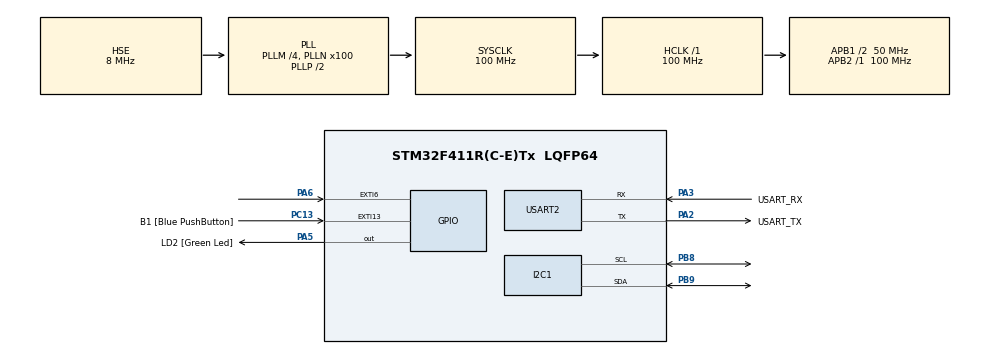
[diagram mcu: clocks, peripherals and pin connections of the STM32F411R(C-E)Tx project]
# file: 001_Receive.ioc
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Mcu.Family=STM32F4
Mcu.Name=STM32F411R(C-E)Tx
Mcu.Package=LQFP64
NVIC.PriorityGroup=NVIC_PRIORITYGROUP_0
PA13.GPIO_Label=TMS
PA13.Signal=SYS_JTMS-SWDIO
PA14.GPIO_Label=TCK
PA14.Signal=SYS_JTCK-SWCLK
PA2.GPIO_Label=USART_TX
PA2.Mode=Asynchronous
PA2.Signal=USART2_TX
PA3.GPIO_Label=USART_RX
PA3.Mode=Asynchronous
PA3.Signal=USART2_RX
PA5.GPIO_Label=LD2 [Green Led]
PA5.Signal=GPIO_Output
PA6.Signal=GPXTI6
PB3.GPIO_Label=SWO
PB3.Signal=SYS_JTDO-SWO
PB8.Mode=I2C
PB8.Signal=I2C1_SCL
PB9.Mode=I2C
PB9.Signal=I2C1_SDA
PC13-ANTI_TAMP.GPIO_Label=B1 [Blue PushButton]
PC13-ANTI_TAMP.GPIO_ModeDefaultEXTI=GPIO_MODE_IT_FALLING
PC13-ANTI_TAMP.Signal=GPXTI13
PC14-OSC32_IN.Mode=LSE-External-Oscillator
PC14-OSC32_IN.Signal=RCC_OSC32_IN
PC15-OSC32_OUT.Mode=LSE-External-Oscillator
PC15-OSC32_OUT.Signal=RCC_OSC32_OUT
PH0\ -\ OSC_IN.Mode=HSE-External-Clock-Source
PH0\ -\ OSC_IN.Signal=RCC_OSC_IN
PH1\ -\ OSC_OUT.Mode=HSE-External-Clock-Source
PH1\ -\ OSC_OUT.Signal=RCC_OSC_OUT
ProjectManager.HeapSize=0x200
ProjectManager.StackSize=0x400
ProjectManager.TargetToolchain=CMake
RCC.48MHZClocksFreq_Value=50000000
RCC.AHBFreq_Value=100000000
RCC.APB1CLKDivider=RCC_HCLK_DIV2
RCC.APB1Freq_Value=50000000
RCC.APB1TimFreq_Value=100000000
RCC.APB2Freq_Value=100000000
RCC.APB2TimFreq_Value=100000000
RCC.CortexFreq_Value=100000000
RCC.FLatency-AdvancedSettings=FLASH_LATENCY_3
RCC.HCLKFreq_Value=100000000
RCC.HSE_VALUE=8000000
RCC.HSI_VALUE=16000000
RCC.PLLM=4
RCC.PLLN=100
RCC.PLLSourceVirtual=RCC_PLLSOURCE_HSE
RCC.RCC_RTC_Clock_Source=RCC_RTCCLKSOURCE_LSE
RCC.RCC_RTC_Clock_SourceVirtual=RCC_RTCCLKSOURCE_LSE
RCC.SYSCLKFreq_VALUE=100000000
RCC.SYSCLKSource=RCC_SYSCLKSOURCE_PLLCLK
RCC.VCOOutputFreq_Value=200000000
USART2.VirtualMode=VM_ASYNC
VP_RTC_VS_RTC_Activate.Mode=RTC_Enabled
board=NUCLEO-F411RE

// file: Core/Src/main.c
/* USER CODE BEGIN Header */
/**
  ******************************************************************************
  * @file           : main.c
  * @brief          : Main program body
  ******************************************************************************
  * @attention
  *
  * Copyright (c) 2025 STMicroelectronics.
  * All rights reserved.
  *
  * This software is licensed under terms that can be found in the LICENSE file
  * in the root directory of this software component.
  * If no LICENSE file comes with this software, it is provided AS-IS.
  *
  ******************************************************************************
  */
/* USER CODE END Header */
#include "main.h"
#include "i2c.h"
#include "rtc.h"
#include "usart.h"
#include "gpio.h"

/* USER CODE BEGIN Includes */
#include "mpu6050.h"
#include <stdio.h>
#include <string.h>
#include <math.h>
/* USER CODE END Includes */

/* USER CODE BEGIN PV */
MPU6050_t MPU6050;
uint8_t msgBuffer[128];
int16_t halDelayDuration = 100;

double accelX = 0;
double accelY = 0;
double accelZ = 0;
double gyroX = 0;
double gyroY = 0;
double gyroZ = 0;

double baseangleX = 0;
double baseangleY = 0;
double gyroX_1 = 0;
double gyroY_1 = 0;
double gyroZ_1 = 0;

double baseAccelX = 0;
double baseAccelY = 0;
double baseAccelZ = 0;
double baseGyroX = 0;
double baseGyroY = 0;
double baseGyroZ = 0;

uint32_t prevTime = 0;
uint32_t currentTime = 0;
float dt = 0.0f;
float alpha = 0.8f;

/* USER CODE END PV */

void SystemClock_Config(void);

int main(void)
{

  /* MCU Configuration--------------------------------------------------------*/

  /* Reset of all peripherals, Initializes the Flash interface and the Systick. */
  HAL_Init();

  /* Configure the system clock */
  SystemClock_Config();

  /* Initialize all configured peripherals */
  MX_GPIO_Init();
  MX_RTC_Init();
  MX_I2C1_Init();
  MX_USART2_UART_Init();
  /* USER CODE BEGIN 2 */
  while (MPU6050_Init(&hi2c1) == 1);
  HAL_UART_Transmit(&huart2, (uint8_t *)"MPU6050 initialized\r\n", sizeof("MPU6050 initialized\r\n"), 1000);
  CallibAccelGyro();
  /* USER CODE END 2 */

  /* Infinite loop */
  /* USER CODE BEGIN WHILE */
  while (1)
  {
    MPU6050_Read_All(&hi2c1, &MPU6050);
    accelX = MPU6050.Ax;
    accelY = MPU6050.Ay;
    accelZ = MPU6050.Az;
    gyroX = MPU6050.Gx;
    gyroY = MPU6050.Gy;
    gyroZ = MPU6050.Gz;

    currentTime = HAL_GetTick();  // 현재 시간(ms)
    dt = (currentTime - prevTime) / 1000.0f;  // 초 단위로 변환
    prevTime = currentTime;

    baseangleY = atan2(-baseAccelX ,sqrt(baseAccelY*baseAccelY + baseAccelZ*baseAccelZ)) * 180.0 / M_PI;
    baseangleX = atan2(baseAccelY, baseAccelZ) * 180.0 / M_PI ;

    float angleX = atan2(accelY, accelZ) * 180.0 / M_PI;     // roll
    float angleY = atan2(-accelX ,sqrt(accelY*accelY + accelZ*accelZ)) * 180.0 / M_PI;  // pitch

    float X = angleX-baseangleX ;
    float Y = angleY-baseangleY ;

    gyroX_1 += (gyroX-baseGyroX)*dt ;
    gyroY_1 += (gyroY-baseGyroY)*dt ;
    gyroZ_1 += (gyroZ-baseGyroZ)*dt ;

    float X_g = gyroX_1;
    float Y_g = gyroY_1;
    float Z_g = gyroZ_1;

    float roll = alpha * (roll + (gyroX - baseGyroX*dt)) + (1-alpha)*angleX ;
    float pitch = alpha * (pitch + (gyroY - baseGyroY*dt)) + (1-alpha)*angleY ;
    float yaw = gyroZ_1;

    //sprintf((char *)msgBuffer, "%f,%f,%f,%f,%f,%f,%f,%f\r\n",accelX, accelY, accelZ, gyroX, gyroY, gyroZ,roll, pitch, yaw);
    sprintf((char *)msgBuffer, "%.6f, %.6f, %.6f, %.6f, %.6f, %.6f, %.6f, %.6f, %.6f, %6f, %.6f, %.6f, %.6f, %.6f, %.6f, %.6f, %.6f, %.6f\r\n", gyroX, gyroY, gyroZ, baseGyroX, baseGyroY, baseGyroZ, gyroX, gyroY, gyroZ,  accelX, accelY, accelZ, baseAccelX, baseAccelY, baseAccelZ, roll, pitch, yaw);
    //sprintf((char *)msgBuffer, "%.6f, %.6f, %.6f, %.6f, %.6f, %.6f, %.6f, %.6f, %.6f, %6f\r\n",  accelX, accelY, accelZ, baseAccelX, baseAccelY, baseAccelZ, X, Y);
    // sprintf((char *)msgBuffer, "%.6f, %.6f, %.6f, %.6f, %.6f, %.6f, %.6f, %.6f, %.6f, %.6f\r\n",  gyroX, gyroY, gyroZ, baseGyroX, baseGyroY, baseGyroZ, X_g, Y_g, Z_g, dt);
    HAL_UART_Transmit(&huart2, (uint8_t *)msgBuffer, strlen((char *)msgBuffer), 1000);

    HAL_Delay(halDelayDuration);
    /* USER CODE END WHILE */

  }
}

void SystemClock_Config(void)
{
  RCC_OscInitTypeDef RCC_OscInitStruct = {0};
  RCC_ClkInitTypeDef RCC_ClkInitStruct = {0};

  /** Configure the main internal regulator output voltage
  */
  __HAL_RCC_PWR_CLK_ENABLE();
  __HAL_PWR_VOLTAGESCALING_CONFIG(PWR_REGULATOR_VOLTAGE_SCALE1);

  /** Initializes the RCC Oscillators according to the specified parameters
  * in the RCC_OscInitTypeDef structure.
  */
  RCC_OscInitStruct.OscillatorType = RCC_OSCILLATORTYPE_HSE|RCC_OSCILLATORTYPE_LSE;
  RCC_OscInitStruct.HSEState = RCC_HSE_BYPASS;
  RCC_OscInitStruct.LSEState = RCC_LSE_ON;
  RCC_OscInitStruct.PLL.PLLState = RCC_PLL_ON;
  RCC_OscInitStruct.PLL.PLLSource = RCC_PLLSOURCE_HSE;
  RCC_OscInitStruct.PLL.PLLM = 4;
  RCC_OscInitStruct.PLL.PLLN = 100;
  RCC_OscInitStruct.PLL.PLLP = RCC_PLLP_DIV2;
  RCC_OscInitStruct.PLL.PLLQ = 4;
  if (HAL_RCC_OscConfig(&RCC_OscInitStruct) != HAL_OK)
  {
    Error_Handler();
  }

  /** Initializes the CPU, AHB and APB buses clocks
  */
  RCC_ClkInitStruct.ClockType = RCC_CLOCKTYPE_HCLK|RCC_CLOCKTYPE_SYSCLK
                              |RCC_CLOCKTYPE_PCLK1|RCC_CLOCKTYPE_PCLK2;
  RCC_ClkInitStruct.SYSCLKSource = RCC_SYSCLKSOURCE_PLLCLK;
  RCC_ClkInitStruct.AHBCLKDivider = RCC_SYSCLK_DIV1;
  RCC_ClkInitStruct.APB1CLKDivider = RCC_HCLK_DIV2;
  RCC_ClkInitStruct.APB2CLKDivider = RCC_HCLK_DIV1;

  if (HAL_RCC_ClockConfig(&RCC_ClkInitStruct, FLASH_LATENCY_3) != HAL_OK)
  {
    Error_Handler();
  }
}

/* USER CODE BEGIN 4 */
void CallibAccelGyro()
{
  double sumAccelX = 0;
  double sumAccelY = 0;
  double sumAccelZ = 0;
  double sumGyroX = 0;
  double sumGyroY = 0;
  double sumGyroZ = 0;

  for (int i = 0; i < 10; i++)
  {
    MPU6050_Read_All(&hi2c1, &MPU6050);
    sumAccelX += MPU6050.Ax;
    sumAccelY += MPU6050.Ay;
    sumAccelZ += MPU6050.Az;
    sumGyroX += MPU6050.Gx;
    sumGyroY += MPU6050.Gy;
    sumGyroZ += MPU6050.Gz;
    HAL_Delay(halDelayDuration);
  }

  baseAccelX = sumAccelX / 10;
  baseAccelY = sumAccelY / 10;
  baseAccelZ = sumAccelZ / 10;
  baseGyroX = sumGyroX / 10;
  baseGyroY = sumGyroY / 10;
  baseGyroZ = sumGyroZ / 10;
}
/* USER CODE END 4 */

void Error_Handler(void)
{
  __disable_irq();
  while (1)
  {
  }
}
